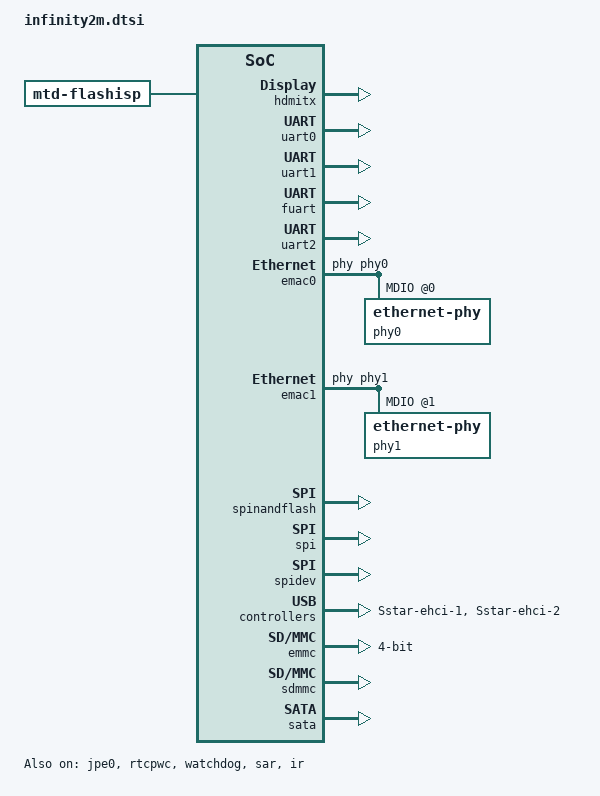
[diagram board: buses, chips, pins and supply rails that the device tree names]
/*
* infinity2m.dtsi- Sigmastar
*
* Copyright (c) [2019~2020] SigmaStar Technology.
*
*
* This software is licensed under the terms of the GNU General Public
* License version 2, as published by the Free Software Foundation, and
* may be copied, distributed, and modified under those terms.
*
* This program is distributed in the hope that it will be useful,
* but WITHOUT ANY WARRANTY; without even the implied warranty of
* MERCHANTABILITY or FITNESS FOR A PARTICULAR PURPOSE.  See the
* GNU General Public License version 2 for more details.
*
*/

#include <../../../../drivers/sstar/include/infinity2m/irqs.h>
#include <../../../../drivers/sstar/include/infinity2m/gpio.h>
#include <../../../../drivers/sstar/include/vcore_defs.h>
#include <dt-bindings/interrupt-controller/irq.h>
#include <dt-bindings/interrupt-controller/arm-gic.h>
#include "skeleton.dtsi"


/ {
    cpus {
        #address-cells = <1>;
        #size-cells = <0>;

        cpu@0 {
            device_type = "cpu";
            compatible = "arm,cortex-a7";
            clock-frequency = <1000000000>;
            clocks = <&CLK_cpupll_clk>;
            reg = <0x0>;
            operating-points = <
                /* kHz     uV */
                /*
                1200000  1000000
                1100000  1000000
                */
                1000000  900000
                /*
                800000   900000
                600000   900000
                400000   900000
                */
            >;
        };
#ifndef __DTS_DCDO__
        cpu@1 {
            device_type = "cpu";
            compatible = "arm,cortex-a7";
            clock-frequency = <1000000000>;
            clocks = <&CLK_cpupll_clk>;
            reg = <0x1>;
            operating-points = <
                /* kHz     uV */
                /*
                1200000  1000000
                1100000  1000000
                */
                1000000  900000
                /*
                800000   900000
                600000   900000
                400000   900000
                */
            >;
        };
#endif
    };

    aliases {
        console = &uart0;
        serial0 = &uart0;
        serial1 = &uart1;
        serial2 = &fuart;
        serial3 = &uart2;
    };

    soc {
        compatible = "simple-bus";
        interrupt-parent = <&ms_main_intc>;
        #address-cells = <1>;
        #size-cells = <1>;
        ranges;

        gic: gic@16000000 {
            compatible = "arm,cortex-a7-gic";
            #interrupt-cells = <3>;
            #address-cells = <1>;
            #size-cells = <1>;
            interrupt-controller;
            interrupt-parent = <&gic>;
            reg = <0x16001000 0x1000>,
                  <0x16002000 0x1000>;
        };

        ms_main_intc: ms_main_intc {
            compatible = "sstar,main-intc";
            #interrupt-cells = <3>;
            #address-cells = <1>;
            #size-cells = <1>;
            interrupt-parent=<&gic>;
            interrupt-controller;
        };

        ms_pm_intc: ms_pm_intc {
            compatible = "sstar,pm-intc";
            #interrupt-cells = <1>;
            interrupt-parent=<&ms_main_intc>;
            interrupt-controller;
            interrupts = <GIC_SPI INT_IRQ_PM_SLEEP IRQ_TYPE_LEVEL_HIGH>;
        };

        ms_gpi_intc: ms_gpi_intc {
            compatible = "sstar,gpi-intc";
            #interrupt-cells = <1>;
            interrupt-parent=<&ms_main_intc>;
            interrupt-controller;
            interrupts = <GIC_SPI INT_IRQ_GPI IRQ_TYPE_LEVEL_HIGH>;
        };

        arch_timer {
            compatible = "arm,armv7-timer";
            interrupt-parent=<&gic>;
            interrupts = <GIC_PPI 13 (GIC_CPU_MASK_SIMPLE(2) | IRQ_TYPE_LEVEL_LOW)>,
                         <GIC_PPI 14 (GIC_CPU_MASK_SIMPLE(2) | IRQ_TYPE_LEVEL_LOW)>,
                         <GIC_PPI 11 (GIC_CPU_MASK_SIMPLE(2) | IRQ_TYPE_LEVEL_LOW)>,
                         <GIC_PPI 10 (GIC_CPU_MASK_SIMPLE(2) | IRQ_TYPE_LEVEL_LOW)>;
            clock-frequency = <6000000>;
            always-on;
        };

        pmu {
            compatible = "arm,cortex-a7-pmu";
            interrupt-parent=<&gic>;
            interrupts = <GIC_SPI 10 IRQ_TYPE_LEVEL_HIGH>,
                         <GIC_SPI 16 IRQ_TYPE_LEVEL_HIGH>,
                         <GIC_SPI 22 IRQ_TYPE_LEVEL_HIGH>,
                         <GIC_SPI 28 IRQ_TYPE_LEVEL_HIGH>;
        };

        clks: clocks{
            #address-cells = <1>;
            #size-cells = <1>;
            ranges;
        };

/*
        timer_clockevent: timer@1F006040 {
            compatible = "sstar,piu-clocksource","sstar,piu-clockevent";
            reg = <0x1F006040 0x100>;
            interrupts=<&ms_main_intc GIC_SPI INT_FIQ_TIMER_0 IRQ_TYPE_LEVEL_HIGH>;
            clocks = <&CLK_xtali_12m>;
        };
*/
#ifndef __DTS_DCDO__
        dec: dec {
            compatible = "sstar,dec";
            banks = <0x1137>;
            interrupts = <GIC_SPI INT_IRQ_DEC IRQ_TYPE_LEVEL_HIGH>;
            status = "ok";
        };

        vip: vip {
            compatible = "sstar,vip";
            status = "ok";
            CMDQ-mode = <1>;
            //reg = <0x1F224000 0x200>;
        };

        pnl: pnl {
            compatible = "sstar,pnl";
            status = "ok";
            clocks = <&CLK_hdmi>, <&CLK_dac>, <&CLK_sc_pixel>, <&CLK_mipi_tx_dsi>, <&CLK_mipi_tx_dsi_apb>;
            clock-names = "CLK_hdmi", "CLK_dac", "CLK_sc_pixel", "CLK_mipi_tx_dsi", "CLK_mipi_tx_dsi_apb";
            //Reg = <0x1F224000 0x200>;
        };

        hdmitx: hdmitx {
            compatible = "sstar,hdmitx";
            status = "ok";
            i2c_id = <0>;
            hpd_gpio = <89>;
            i2c_sw = <1>;
            i2c_sda_gpio = <88>;
            i2c_scl_gpio = <87>;
            clocks = <&CLK_hdmi>, <&CLK_disp_432>, <&CLK_disp_216>;
            clock-names = "CLK_hdmi", "CLK_disp_432", "CLK_disp_216";
            //Reg = <0x1F224000 0x200>;
        };

        ge: ge {
            compatible = "sstar,ge";
            status = "ok";
            clocks = <&CLK_ge>;
            interrupts = <GIC_SPI INT_IRQ_GE IRQ_TYPE_LEVEL_HIGH>;
            //Reg = <0x1F224000 0x200>;
        };

        gop: gop {
            compatible = "sstar,gop";
            status = "ok";

        };

        dip {
            compatible = "sstar,dip";
            clocks = <&CLK_dip>;
            interrupts=<GIC_SPI INT_IRQ_DIP0 IRQ_TYPE_LEVEL_HIGH>;
            status = "ok";
        };
        cmdq0 {
            compatible = "sstar,cmdq0";
            clocks = <&CLK_mcu>; //for timeout tick
            interrupts=<GIC_SPI INT_IRQ_CMDQ IRQ_TYPE_LEVEL_HIGH>;
            status = "ok";
        };
#endif
        uart0: uart0@1F221000 {
            compatible = "sstar,uart";
            reg = <0x1F221000 0x100>;
            interrupts = <GIC_SPI INT_IRQ_UART_0 IRQ_TYPE_LEVEL_HIGH>;
            clocks = <&CLK_uart0>;
            status = "ok";
        };
        uart1: uart1@1F221200 {
            compatible = "sstar,uart";
            reg = <0x1F221200 0x100>;
            interrupts = <GIC_SPI INT_IRQ_UART_1 IRQ_TYPE_LEVEL_HIGH>;
            clocks = <&CLK_uart1>;
            status = "ok";
        };
        fuart: uart2@1F220400 {
            compatible = "sstar,uart";
            reg = <0x1F220400 0x100>, <0x1F220600 0x100>;
            interrupts = <GIC_SPI INT_IRQ_FUART IRQ_TYPE_LEVEL_HIGH>, <GIC_SPI INT_IRQ_URDMA IRQ_TYPE_LEVEL_HIGH>;
            clocks = <&CLK_fuart>;
            dma = <0>;
            sctp_enable = <0>;//rts cts enable is 1
            status = "ok";
        };
        uart2: uart2@1F221400 {
            compatible = "sstar,uart";
            reg = <0x1F221400 0x100>;
            interrupts = <GIC_SPI INT_IRQ_UART_2 IRQ_TYPE_LEVEL_HIGH>;
            clocks = <&CLK_uart2>;
            status = "ok";
        };

        emac0: emac0 {
            compatible = "sstar-emac";
            interrupts = <GIC_SPI INT_IRQ_EMAC IRQ_TYPE_LEVEL_HIGH>, <GIC_SPI INT_FIQ_LAN_ESD IRQ_TYPE_LEVEL_HIGH>;
            clocks = <&CLK_emac_ahb>,<&CLK_emac_tx>,<&CLK_emac_rx>;
            reg = <0x1F2A2000 0x800>, <0x1F343C00 0x600>, <0x1F006200 0x600>;
            pad = <0x1F203C38 0x0001 0x0000>; // pad selection from 0x0001
            phy-handle = <&phy0>;
            status = "ok";
            mdio-bus@emac0 {
                phy0: ethernet-phy@0 {
                    phy-mode = "mii";
                };
            };
        };

        emac1: emac1 {
            compatible = "sstar-emac";
            interrupts = <GIC_SPI INT_IRQ_EMAC_1 IRQ_TYPE_LEVEL_HIGH>, <GIC_SPI INT_FIQ_LAN_ESD IRQ_TYPE_LEVEL_HIGH>;
            clocks = <&CLK_emac_ahb>,<&CLK_emac1_tx>,<&CLK_emac1_rx>,<&CLK_emac1_tx_ref>,<&CLK_emac1_rx_ref>;
            reg = <0x1F2A2800 0x800>, <0x1F344200 0x600>, <0x00000000 0x000>;
            pad = <0x1F203C38 0x0F00 0x0300>; // pad selection from 0x0100/0x0200/0x0300/0x0400/0x0500/0x0600/0x0700/0x0800/0x0900
            status = "ok";
#if 1
            phy-handle = <&phy1>;
            mdio-bus@emac1 {
                phy1: ethernet-phy@1 {
                    phy-mode = "rmii";
                };
            };
#else
            phy-mode = "rmii";
            fixed-link = <0 1 100 0 0>;
#endif
        };

        flashisp {
            compatible = "mtd-flashisp";
            clocks = <&CLK_bdma>;
            quadread = <0>;
            status = "ok";
        };

        spinandflash {
            compatible = "ms-spinand";
            clocks =<&CLK_bdma>;
            status = "ok";
        };

        spi: spi {
            compatible = "sstar_spi";
            io_phy_addr = <0x1f000000>;
            banks = <0x1110>,<0x1111>,<0x1038>,<0x101E>,<0x100B>;
            clocks = <&CLK_mspi0>;
            interrupts = <GIC_SPI INT_IRQ_MSPI_0 IRQ_TYPE_LEVEL_HIGH>;
            /*
             * padmux:
             * mode=1: PAD_PM_SD_CDZ,PAD_SD_D1,PAD_SD_D0,PAD_SD_CLK,PAD_SD_CMD
             * mode=2: PAD_TTL16,PAD_TTL17,PAD_TTL18,PAD_TTL19
             * mode=3: PAD_GPIO4,PAD_GPIO5,PAD_GPIO6,PAD_GPIO7
             * mode=4: PAD_FUART_RX,PAD_FUART_TX,PAD_FUART_CTS,PAD_FUART_RTS
             * mode=5: PAD_GPIO8,PAD_GPIO9,PAD_GPIO10,PAD_GPIO11
             * mode=6: PAD_GPIO0,PAD_GPIO1,PAD_GPIO2,PAD_GPIO3
             */
            dma = <1>;
            spi0_mode = <2>;
            status = "ok";
        };

        spidev: spidev {
            compatible = "spidev";
	    status = "ok";
        };

         Sstar-ehci-1 {
            compatible = "Sstar-ehci-1";
            clocks = <&CLK_utmi>;
            interrupts = <GIC_SPI INT_IRQ_UHC_INT_P1 IRQ_TYPE_LEVEL_HIGH>;
            dpdm_swap=<0>;
            //power-enable-pad = <PAD_FUART_TX>;
            status = "ok";
        };

        Sstar-ehci-2 {
            compatible = "Sstar-ehci-2";
            clocks = <&CLK_utmi>;
            interrupts = <GIC_SPI INT_IRQ_UHC_P2 IRQ_TYPE_LEVEL_HIGH>;
            dpdm_swap=<0>;
            //power-enable-pad = <PAD_FUART_TX>;
            status = "ok";
        };


        jpe0: jpe@0x1F264000 {
            compatible = "sstar,cedric-jpe";
            reg = <0x1F264000 0x100>;
            interrupts = <GIC_SPI INT_IRQ_JPE IRQ_TYPE_LEVEL_HIGH>;
            clocks = <&CLK_jpe>;
            clock-names = "CKG_jpe";
            clk-select = <0>; // 0: 288MHz  1: 216MHz  2: 54MHz  3: 27MHz
            status = "ok";
        };


        gpio:gpio{
            compatible = "sstar,gpio";
            #gpio-cells = <2>;
            gpio-controller;
        };

        sar-gpio{
            compatible = "sstar,sar-gpio";
            interrupts = <GIC_SPI INT_FIQ_SAR_GPIO_0 IRQ_TYPE_NONE>,
                         <GIC_SPI INT_FIQ_SAR_GPIO_1 IRQ_TYPE_NONE>,
                         <GIC_SPI INT_FIQ_SAR_GPIO_2 IRQ_TYPE_NONE>,
                         <GIC_SPI INT_FIQ_SAR_GPIO_3 IRQ_TYPE_NONE>;
        };

        wakeup:wakeup{
            compatible = "sstar,wakeup-gpio";
            wakeup_num = <1>;
            wakeup_source = <PAD_GPIO0>,<PAD_UNKNOWN>,<PAD_UNKNOWN>;
        };

        sound {
            compatible = "sstar,audio";
//            reg = <0x1F000000 0x1000000>;
            interrupts=<GIC_SPI INT_IRQ_BACH IRQ_TYPE_LEVEL_HIGH>;
            playback-volume-level=<64>;    //0~94
            capture-volume-level=<64>;
           // micin-pregain-level=<1>;    //0~3
            micin-pregain-level=<0>;    //0~3
            micin-gain-level=<3>;    //0~7
            linein-gain-level=<2>;  //0~7
            amp-gpio = <PAD_GPIO12 1 PAD_UNKNOWN 1>;
            clocks = <&CLK_upll_384m>;
           // playback-dma-buffer=<98304>; //512(ms)*48(kHz)*2(ch)*2(16bits)
           // capture-dma-buffer=<122880>; //640(ms)*48(kHz)*2(ch)*2(16bits)
            digmic-padmux = <1>;
            i2s-padmux = <3>;
            keep-i2s-clk = <0>;
            i2s-pcm = <0>;
            dmic-hpf = <6>;
            status = "ok";
        };

        emmc {
            compatible = "sstar_mci";
            clocks =<&CLK_sdio>, <&CLK_sdio>;
            interrupts =  <GIC_SPI INT_IRQ_SDIO IRQ_TYPE_LEVEL_HIGH>;
            bus-width = <4>;
	    reset-pin = <0>;
            max-clks = <2>; // 0:48M 1:43M 2:40M 3:36M 4:32M 5:20M 6:12M 7:300K
            clk-driving = <0>;
            cmd-driving = <0>;
            data-driving = <0>;
            status = "ok";
        };

        sdmmc {
            compatible = "sstar,sdmmc";

            slotnum = <1>;
            revcdz = <0>;

            slot-ip-orders = <0>,<1>,<2>;
            slot-pad-orders = <0>,<1>,<2>;
            slot-max-clks = <48000000>,<48000000>,<48000000>;
            slot-intcdzs = <1>,<1>,<1>;
            slot-fakecdzs = <0>,<0>,<0>;
            slot-cdzs-gpios = <PAD_PM_SD_CDZ>,<0>,<0>;
            slot-pwr-gpios = <PAD_GPIO0>,<0>,<0>; // ssc010a:PAD_TTL0 P2_ssc011a: PAD_GPIO0
            slot-en-pwr-high-valid = <1>,<0>,<0>; //gpio output (1/0), power on.
            slot-pwr-off-delay = <30>,<30>,<30>;
            slot-pwr-on-delay = <1>,<1>,<1>;
            slot-sdio-use = <0>,<0>,<0>;

            interrupts-extended = <&ms_main_intc GIC_SPI INT_IRQ_SDIO IRQ_TYPE_LEVEL_HIGH>,//was INT_IRQ_SDIO
                                 <&ms_main_intc GIC_SPI INT_IRQ_SDIO IRQ_TYPE_LEVEL_HIGH>,
                                 <&ms_main_intc GIC_SPI INT_FIQ_SD_CDZ IRQ_TYPE_LEVEL_HIGH>,
                                 <&ms_gpi_intc 42>,
                                 <&ms_main_intc GIC_SPI INT_FIQ_SD_CDZ IRQ_TYPE_LEVEL_HIGH>;
            interrupt-names = "mie0_irq", "mie1_irq", "cdz_slot0_irq", "cdz_slot1_irq", "cdz_slot2_irq";

            //clocks = <&CLK_sdio>,<&GATE_MCM_sdio>,<&GATE_SRAM_sdio>;
            clocks = <&CLK_sdio>,<&CLK_sdio>,<&CLK_sdio>,
                     <&CLK_sdio>,<&CLK_sdio>,<&CLK_sdio>,
                     <&CLK_sdio>,<&CLK_sdio>,<&CLK_sdio>;
            status = "ok";
        };

        aesdma {
            compatible = "sstar,infinity-aes";
            //clocks = <&CLK_aesdma>,<&GATE_MCM_aesdma>, <&GATE_SRAM_aesdma>;
            clocks = <&CLK_aesdma>;
            status = "ok";
        };

        bdma0 {
            compatible = "sstar,bdma0";
            interrupts=<GIC_SPI INT_IRQ_BDMA_0 IRQ_TYPE_LEVEL_HIGH>;
            clocks = <&CLK_bdma>;
            status = "ok";
        };

        bdma1 {
            compatible = "sstar,bdma1";
            interrupts=<GIC_SPI INT_IRQ_BDMA_1 IRQ_TYPE_LEVEL_HIGH>;
            clocks = <&CLK_bdma>;
            status = "ok";
        };

        bdma2 {
            compatible = "sstar,bdma2";
            interrupts=<GIC_SPI INT_IRQ_BDMA_2 IRQ_TYPE_LEVEL_HIGH>;
            clocks = <&CLK_bdma>;
            status = "ok";
        };

        bdma3 {
            compatible = "sstar,bdma3";
            interrupts=<GIC_SPI INT_IRQ_BDMA_3 IRQ_TYPE_LEVEL_HIGH>;
            clocks = <&CLK_bdma>;
            status = "ok";
        };

        movdma {
            compatible = "sstar,movdma";
            interrupts=<GIC_SPI INT_IRQ_MOVEDMA IRQ_TYPE_LEVEL_HIGH>;
            clocks = <&CLK_miu>;
            status = "ok";
        };

        sata {
            compatible = "sstar,sata", "sstar,sata-ahci";
            reg-names = "ahci", "ahci_port0", "ahci_misc";
            reg = <0x1F345000  0x100>, <0x1F345100  0x100>, <0x1F2A4A00 0x200>;
            interrupts=<GIC_SPI INT_IRQ_SATA IRQ_TYPE_LEVEL_HIGH>;
            clocks = <&CLK_sata_axi>,<&CLK_sata_pm>,<&CLK_sata_phy_108>,<&CLK_sata_phy_432>;
        };


        rtc {
            compatible = "sstar,infinity-rtc";
            reg = <0x1F002400 0x40>;
            interrupts=<GIC_SPI INT_IRQ_RTC IRQ_TYPE_LEVEL_HIGH>;
            clocks = <&CLK_rtc>;
            status = "disabled";
        };

         rtcpwc {
            compatible = "sstar,infinity-rtcpwc";
            reg = <0x1F006800 0x200>;
            interrupts=<GIC_SPI INT_IRQ_RTC IRQ_TYPE_LEVEL_HIGH>; //need to check
            clocks = <&CLK_rtc>;
            status = "ok";
        };

        cpufreq {
            compatible = "sstar,infinity-cpufreq";
            status = "ok";
        };

        core_voltage {
            vid_width = <2>;
            vid_gpios = <PAD_UART1_RX PAD_SAR_GPIO1>;
            vid_voltages = <850 900 950 1000>;  //2b'00 2b'01 2b'10 2b'11
        };
/*
        core_voltage {
            vid_width = <1>;
            vid_gpios = <PAD_SAR_GPIO1>;
            vid_voltages = <950 1000>;  //2b'00 2b'01
        };
*/
        watchdog: watchdog {
            compatible = "sstar,infinity-wdt";
            reg = <0x1F006000 0x40>;
            status = "ok";
        };

        sar: sar {
            compatible = "sstar,infinity-sar";
            reg = <0x1F002800 0x200>;
            clocks = <&CLK_sar>;
            status = "ok";
        };

        ircut {
            compatible = "sstar,infinity-ircut";
            ircut-gpio-num = <PAD_PM_IRIN>;///PM_GPIO_IRIN
            interrupt-parent = <&ms_pm_intc>;
            interrupts = <INT_PMSLEEP_IRIN>;
            status = "ok";
        };

        ir: ir@1F007A00 {
            compatible = "sstar,infinity-ir";
            reg = <0x1F007A00 0x1000>;
            clocks = <&CLK_ir>;
            interrupts = <GIC_SPI INT_FIQ_IR  IRQ_TYPE_LEVEL_HIGH>;
            status = "ok";
        };

        pwm {
            compatible = "sstar,infinity-pwm";
            reg = <0x1F003400 0x600>;
            clocks = <&CLK_xtali_12m>;
            npwm = <4>;
            pad-ctrl = <PAD_UNKNOWN PAD_UNKNOWN PAD_UNKNOWN PAD_UNKNOWN>;
            status = "disabled";  // no available pads
        };

    /*
    pm {
            compatible = "sstar,infinity-pm";
            interrupt-parent = <&ms_pm_intc>;
            interrupts = <INT_PMSLEEP_GPIO_0>;
            detect-gpio = <PAD_PM_GPIO0>;
        };
    */

        miu {
            compatible = "sstar,miu";
            interrupts=<GIC_SPI INT_IRQ_MIU IRQ_TYPE_LEVEL_HIGH>;
            status = "ok";
        };

        mmu {
            compatible = "sstar,mmu";
            interrupts=<GIC_SPI INT_IRQ_MMU IRQ_TYPE_LEVEL_HIGH>;
            status = "ok";
        };
    };
};

&clks {
    #include <../../../../drivers/sstar/include/infinity2m/reg_clks.h>
#ifndef __DTS_DCDO__
    #include "infinity2m-clks.dtsi"
#else
    #include "infinity2m-clks_simple.dtsi"
#endif
/*    #include "infinity2m-gates.dtsi"*/
};

